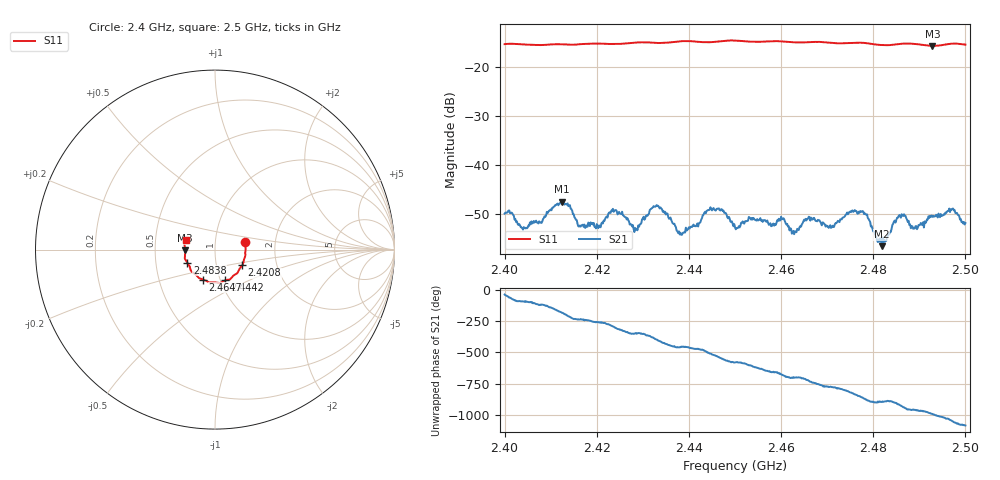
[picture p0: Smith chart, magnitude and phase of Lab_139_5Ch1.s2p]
# Hz S RI R 50
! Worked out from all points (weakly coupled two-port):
!   601 points, 2.4 GHz to 2.5 GHz, reference 50 ohm
!   highest |S21| = -47.56 dB at 2.4125 GHz (marker M1); lowest = -56.7 dB at 2.4818 GHz (marker M2)
!   lowest |S11| = -15.6 dB at 2.4928 GHz (marker M3), VSWR 1.40, Z = 35.8 - j0.363 ohm
!   |S11| at or under -10 dB: start of sweep to end of sweep
!   S12 and S22 are empty: the file has one direction only
!   S11 on the Smith chart (normalised r, x): 2.4 GHz: 1.40, +0.12; 2.4208 GHz: 1.33, -0.24; 2.4442 GHz: 1.05, -0.37; 2.4647 GHz: 0.83, -0.29; 2.4838 GHz: 0.73, -0.11; 2.5 GHz: 0.72, +0.08
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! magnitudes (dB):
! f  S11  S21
! 2.4 GHz  -15.2  -50.0
! 2.4045 GHz  -15.3  -53.1
! 2.4125 GHz  -15.3  -47.6
! 2.4167 GHz  -15.2  -52.4
! 2.4208 GHz  -15.1  -52.8
! 2.4237 GHz  -15.2  -49.7
! 2.4285 GHz  -14.9  -53.3
! 2.4333 GHz  -15.0  -48.4
! 2.4382 GHz  -14.7  -53.9
! 2.4442 GHz  -14.9  -49.3
! 2.45 GHz  -14.5  -52.8
! 2.4647 GHz  -14.9  -52.0
! 2.4667 GHz  -14.8  -51.2
! 2.4708 GHz  -15.0  -53.0
! 2.4777 GHz  -15.0  -49.5
! 2.4818 GHz  -15.4  -56.7
! 2.4833 GHz  -15.5  -54.4
! 2.4838 GHz  -15.4  -53.8
! 2.4862 GHz  -15.2  -50.1
! 2.4892 GHz  -15.2  -52.6
! 2.4928 GHz  -15.6  -50.7
! 2.5 GHz  -15.3  -52.0
